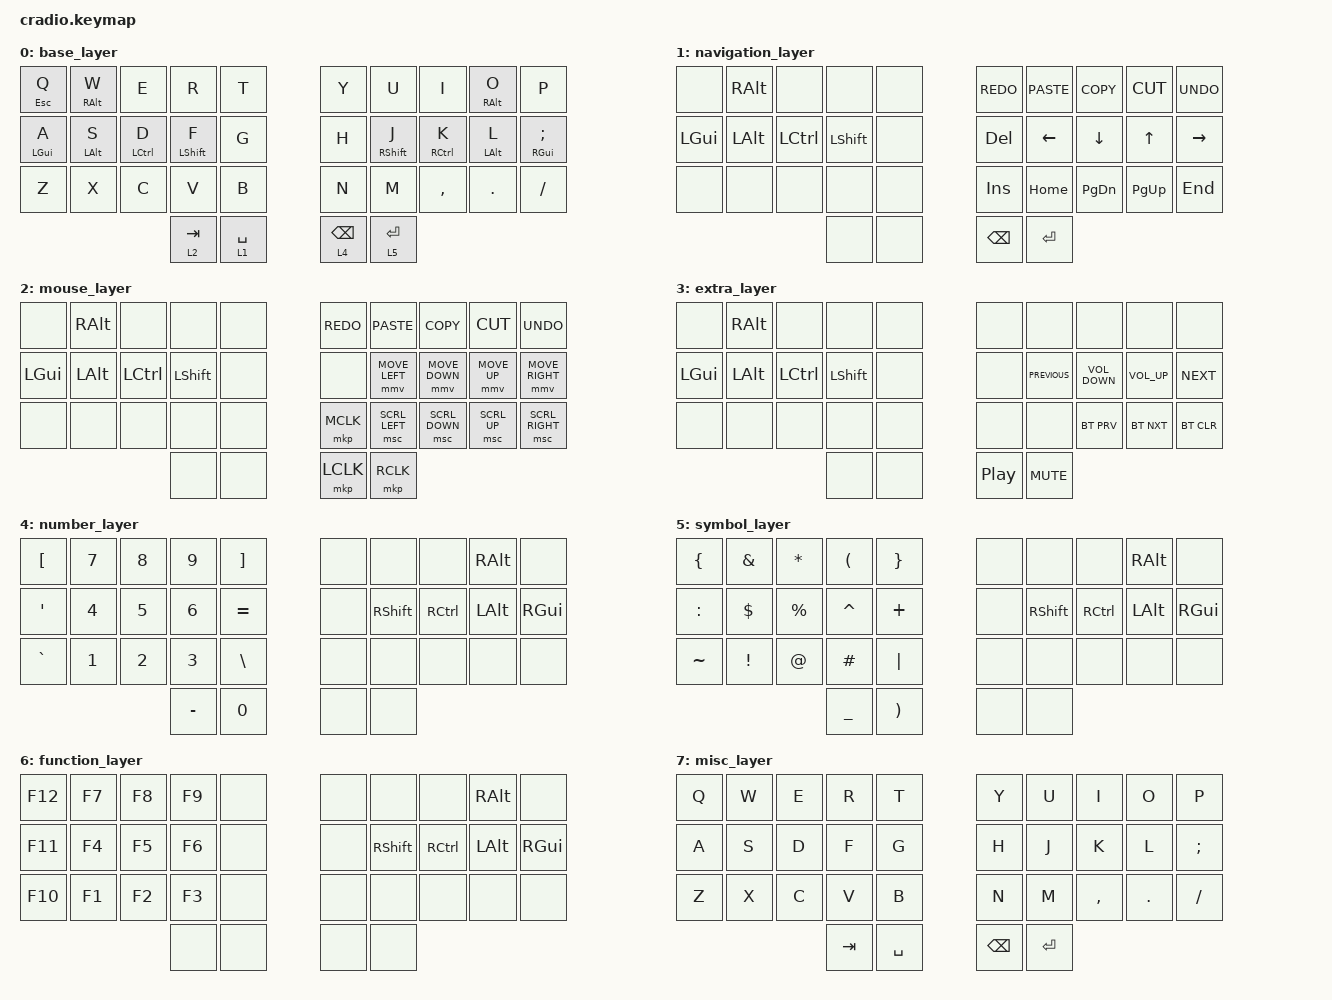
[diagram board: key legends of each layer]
#include <behaviors.dtsi>
#include <dt-bindings/zmk/bt.h>
#include <dt-bindings/zmk/keys.h>
#include <dt-bindings/zmk/pointing.h>

/ {
    behaviors {
        ht: hold_tap {
            compatible = "zmk,behavior-hold-tap";
            #binding-cells = <2>;
            flavor = "tap-preferred";
            tapping-term-ms = <220>;
            quick-tap-ms = <150>;
            require-prior-idle-ms = <100>;
            bindings = <&kp>, <&kp>;
        };
    };
  
    combos {
        compatible = "zmk,combos";
  
        extra_layer_combo {
            bindings = <&mo 3>;
            layers = <0>;
            key-positions = <30 31>;
        };

        function_layer_combo {
            bindings = <&mo 6>;
            layers = <0>;
            key-positions = <32 33>;
        };
        
        toggle_misc_layer_combo {
            bindings = <&tog 7>;
            layers = <0>;
            key-positions = <30 31 32 33>;
        };
    };

    keymap {
        compatible = "zmk,keymap";

        base_layer {
            bindings = <
                &mt ESC Q   &ht RALT W  &kp E        &kp R         &kp T          &kp Y            &kp U         &kp I        &ht RALT O  &kp P
                &ht LGUI A  &ht LALT S  &ht LCTRL D  &ht LSHIFT F  &kp G          &kp H            &ht RSHIFT J  &ht RCTRL K  &ht LALT L  &ht RGUI SEMI
                &kp Z       &kp X       &kp C        &kp V         &kp B          &kp N            &kp M         &kp COMMA    &kp DOT     &kp FSLH
                                                     &lt 2 TAB     &lt 1 SPACE    &lt 4 BACKSPACE  &lt 5 ENTER
            >;
        };

        navigation_layer {
            bindings = <
                &none     &kp RALT  &none      &none      &none    &kp K_REDO     &kp K_PASTE  &kp K_COPY     &kp K_CUT    &kp K_UNDO
                &kp LGUI  &kp LALT  &kp LCTRL  &kp LSHFT  &none    &kp DEL        &kp LEFT     &kp DOWN       &kp UP       &kp RIGHT
                &none     &none     &none      &none      &none    &kp INS        &kp HOME     &kp PAGE_DOWN  &kp PAGE_UP  &kp END
                                               &none      &none    &kp BACKSPACE  &kp ENTER

            >;
        };

        mouse_layer {
            bindings = <
                &none     &kp RALT  &none      &none      &none    &kp K_REDO  &kp K_PASTE     &kp K_COPY      &kp K_CUT     &kp K_UNDO
                &kp LGUI  &kp LALT  &kp LCTRL  &kp LSHFT  &none    &none       &mmv MOVE_LEFT  &mmv MOVE_DOWN  &mmv MOVE_UP  &mmv MOVE_RIGHT
                &none     &none     &none      &none      &none    &mkp MCLK   &msc SCRL_LEFT  &msc SCRL_DOWN  &msc SCRL_UP  &msc SCRL_RIGHT
                                               &none      &none    &mkp LCLK   &mkp RCLK
            >;
        };

        extra_layer {
            bindings = <
                &none     &kp RALT  &none      &none       &none    &none             &none           &none              &none            &none 
                &kp LGUI  &kp LALT  &kp LCTRL  &kp LSHIFT  &none    &none             &kp C_PREVIOUS  &kp C_VOLUME_DOWN  &kp C_VOLUME_UP  &kp C_NEXT
                &none     &none     &none      &none       &none    &none             &none           &bt BT_PRV         &bt BT_NXT       &bt BT_CLR
                                               &none       &none    &kp C_PLAY_PAUSE  &kp C_MUTE
            >;
        };

        number_layer {
            bindings = <
                &kp LBKT   &kp N7  &kp N8  &kp N9     &kp RBKT     &none  &none      &none      &kp RALT  &none 
                &kp SQT    &kp N4  &kp N5  &kp N6     &kp EQUAL    &none  &kp RSHFT  &kp RCTRL  &kp LALT  &kp RGUI
                &kp GRAVE  &kp N1  &kp N2  &kp N3     &kp BSLH     &none  &none      &none      &none     &none 
                                           &kp MINUS  &kp N0       &none  &none 
            >;
        };

        symbol_layer {
            bindings = <
                &kp LBRC   &kp AMPS   &kp STAR   &kp LPAR   &kp RBRC    &none  &none      &none      &kp RALT  &none 
                &kp COLON  &kp DLLR   &kp PRCNT  &kp CARET  &kp PLUS    &none  &kp RSHFT  &kp RCTRL  &kp LALT  &kp RGUI
                &kp TILDE  &kp EXCL   &kp AT     &kp HASH   &kp PIPE    &none  &none      &none      &none     &none 
                                                 &kp UNDER  &kp RPAR    &none  &none 
            >;
        };

        function_layer {
            bindings = <
                &kp F12  &kp F7  &kp F8  &kp F9  &none    &none  &none      &none      &kp RALT  &none 
                &kp F11  &kp F4  &kp F5  &kp F6  &none    &none  &kp RSHFT  &kp RCTRL  &kp LALT  &kp RGUI
                &kp F10  &kp F1  &kp F2  &kp F3  &none    &none  &none      &none      &none     &none 
                                         &none   &none    &none  &none 
            >;
        };

        misc_layer {
            bindings = <
                &kp Q  &kp W  &kp E  &kp R    &kp T        &kp Y          &kp U      &kp I      &kp O    &kp P
                &kp A  &kp S  &kp D  &kp F    &kp G        &kp H          &kp J      &kp K      &kp L    &kp SEMI
                &kp Z  &kp X  &kp C  &kp V    &kp B        &kp N          &kp M      &kp COMMA  &kp DOT  &kp FSLH
                                     &kp TAB  &kp SPACE    &kp BACKSPACE  &kp ENTER
            >;
        };
    };
};
